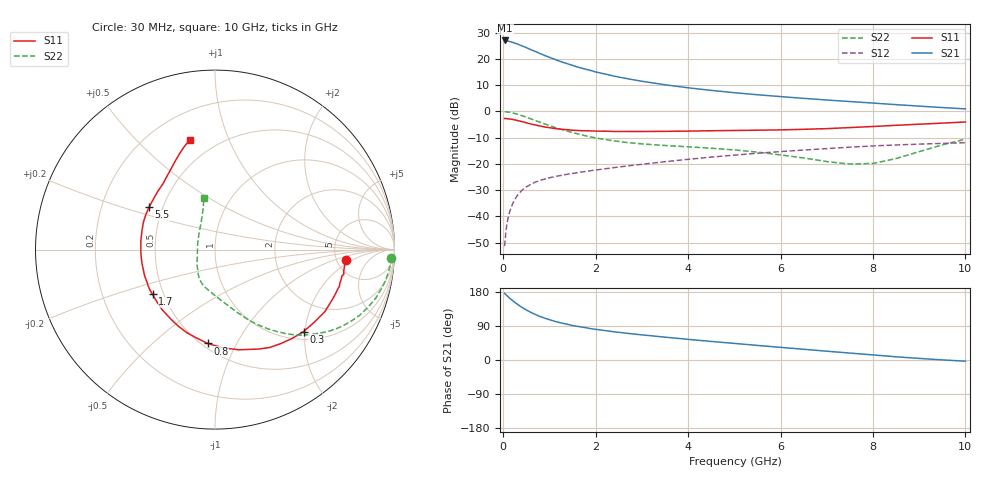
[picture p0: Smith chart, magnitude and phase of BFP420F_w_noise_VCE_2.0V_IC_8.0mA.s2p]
! Infineon Technologies  Discrete & RF Semiconductors
! BFP420F
! VCE =  2.0 V,  IC =  8.0 mA
! Common Emitter S-Parameters:  Sep 2011
# GHz  S  MA  R  50
!  f  S11  S21  S12  S22
! GHz  MAG  ANG  MAG  ANG  MAG  ANG  MAG  ANG
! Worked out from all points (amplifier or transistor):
!   54 points, 30 MHz to 10 GHz, reference 50 ohm
!   highest |S21| = 27.0 dB at 40 MHz (marker M1)
!   |S21| within 3 dB of that: start of sweep to 532.3 MHz
!   unconditionally stable (mu >= 1): 2.204 GHz to end of sweep
!   at 120 MHz: K = 0.12, MSG = 33.2 dB, |S12| = -39.6 dB
!   at 1.3 GHz: K = 0.69, MSG = 21.4 dB, |S12| = -24.3 dB
!   at 10 GHz: K = 1.30, MAG = 3.1 dB, |S12| = -11.9 dB
!   lowest NFmin = 1.08 dB at 450 MHz
!   S11 on the Smith chart (normalised r, x): 30 MHz: 6.08, -1.47; 300 MHz: 1.18, -1.96; 800 MHz: 0.53, -0.77; 1.7 GHz: 0.44, -0.27; 5.5 GHz: 0.42, +0.25; 10 GHz: 0.36, +0.73
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0.03  0.7314 -4.4  22.4 175.8  0.0027 86.2  0.982 -2.6
0.04  0.73 -5.9  22.41 174.6  0.0035 88.4  0.9811 -3.4
0.05  0.7275 -7.2  22.2 173.0  0.0042 87.7  0.9804 -4.4
0.1  0.7205 -15.0  21.99 167.5  0.0088 83.0  0.9706 -8.7
0.15  0.7119 -22.2  21.26 162.0  0.0131 80.3  0.9544 -12.9
0.25  0.6854 -36.1  19.9 152.2  0.0208 74.4  0.9101 -20.7
0.3  0.6725 -42.8  19.3 147.7  0.0246 71.7  0.8862 -24.3
0.4  0.6392 -55.0  17.77 139.3  0.0309 66.9  0.8303 -30.7
0.5  0.6056 -66.2  16.33 132.1  0.0363 62.9  0.7731 -36.3
0.6  0.5737 -76.6  14.94 125.5  0.0408 59.5  0.7165 -41.3
0.8  0.5246 -94.4  12.61 114.6  0.0483 54.9  0.6187 -49.4
1  0.4886 -108.8  10.7 106.4  0.0542 52.1  0.5367 -55.8
1.2  0.4609 -121.3  9.157 99.3  0.059 50.3  0.4706 -61.3
1.5  0.4373 -136.4  7.503 91.0  0.0657 49.0  0.3949 -67.8
1.7  0.4276 -144.3  6.638 86.9  0.0699 48.5  0.3553 -72.1
2  0.4202 -154.6  5.626 80.9  0.0762 48.1  0.3115 -78.2
2.4  0.4142 -165.3  4.681 74.4  0.0848 47.8  0.2735 -85.5
3.5  0.4157 173.5  3.208 60.3  0.1098 46.5  0.2235 -101.6
5.5  0.4371 147.2  2.072 38.5  0.1589 39.4  0.1674 -123.9
7  0.4684 128.0  1.644 23.2  0.195 31.8  0.1105 -153.7
8.5  0.5422 114.0  1.343 8.5  0.229 22.5  0.126 135.3
10  0.6265 103.1  1.114 -3.2  0.253 14.0  0.295 102.0
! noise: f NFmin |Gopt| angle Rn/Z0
0.45  1.08  0.09  22  0.18
0.9  1.1  0.1  56  0.15
1.9  1.26  0.14  138  0.2
2.4  1.33  0.15  140  0.13
3.5  1.6  0.2  167  0.13
